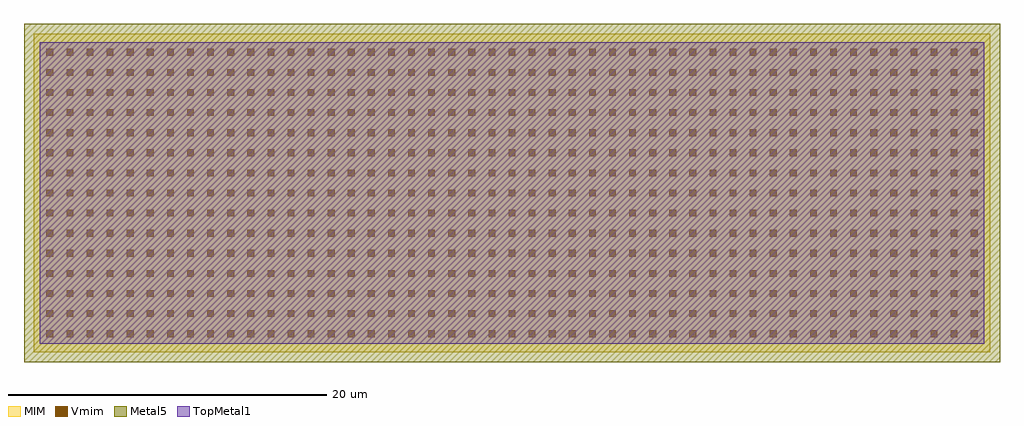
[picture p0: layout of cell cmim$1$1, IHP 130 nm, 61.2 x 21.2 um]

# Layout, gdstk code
import gdstk
lib = gdstk.Library(unit=1e-6, precision=1e-09)
def R(c, l, rs):  # rectangles x0, y0, x1, y1
    for r in rs: c.add(gdstk.rectangle(r[:2], r[2:], *l))
def A(c, l, x, y, w, h, nx, ny, dx, dy):  # array of equal rectangles
    R(c, l, [(x+i*dx, y+j*dy, x+i*dx+w, y+j*dy+h) for i in range(nx) for j in range(ny)])
MIM = (36, 0)
Metal5 = (67, 0)
TopMetal1 = (126, 0)
Vmim = (129, 0)

cmim_1_1 = lib.new_cell('cmim$1$1')
R(cmim_1_1, MIM, [(0,0,60,20)])
R(cmim_1_1, Metal5, [(-0.6,-0.6,60.6,20.6)])
R(cmim_1_1, TopMetal1, [(0.39,0.55,59.61,19.45)])
A(cmim_1_1, Vmim, 0.81, 0.97, 0.42, 0.42, 47, 15, 1.26, 1.26)

lib.write_gds('cmim_1_1.gds')
